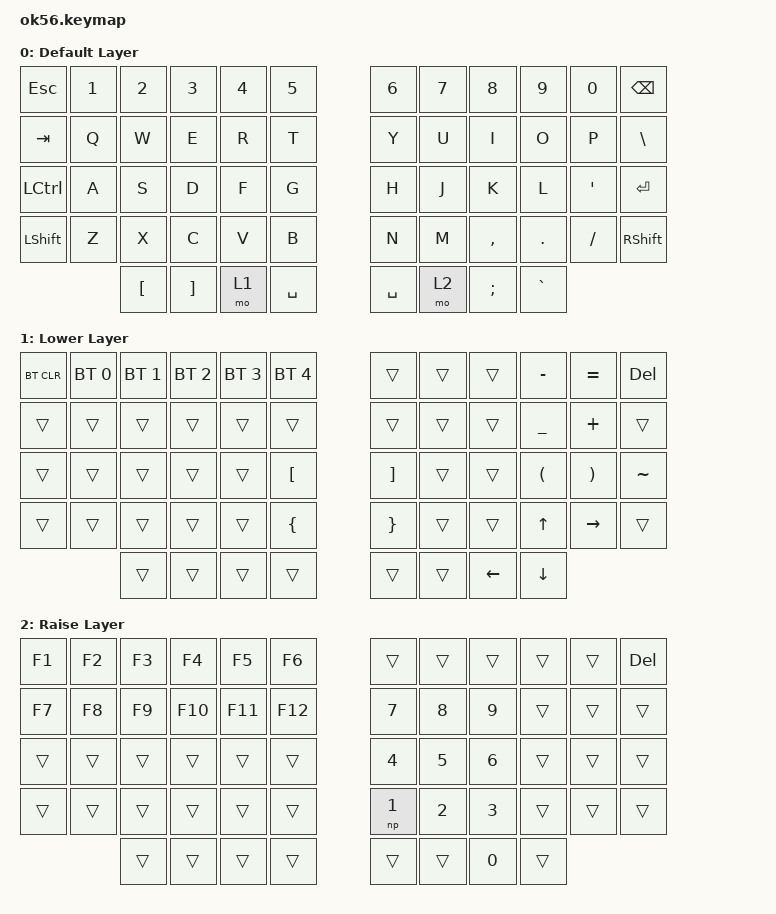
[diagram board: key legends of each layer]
/*
 * Copyright (c) 2020 The ZMK Contributors
 *
 * SPDX-License-Identifier: MIT
 */

#include <behaviors.dtsi>
#include <dt-bindings/zmk/keys.h>
#include <dt-bindings/zmk/bt.h>
#include <dt-bindings/zmk/ext_power.h>

/ {
    keymap {
        compatible = "zmk,keymap";

        default_layer {
            display-name = "Default Layer";
// ------------------------------------------------------------------------------------------------------------
// |  ESC  |  1  |  2  |  3   |  4   |  5   |                   |  6   |  7    |  8    |  9   |   0   |  BSPC |
// |  TAB  |  Q  |  W  |  E   |  R   |  T   |                   |  Y   |  U    |  I    |  O   |   P   |  BSLH |
// |  CTRL |  A  |  S  |  D   |  F   |  G   |                   |  H   |  J    |  K    |  L   |   '   |  RET  |
// | SHIFT |  Z  |  X  |  C   |  V   |  B   |   		|  N   |  M    |  ,    |  .   |   /   | SHIFT |
// |       |     |  [  |  ]   | LOWER| SPACE| 		  	| SPACE| UPPER |  ;    | GRAVE|       |       |
            bindings = <
&kp ESC   &kp N1 &kp N2   &kp N3   &kp N4 &kp N5                &kp N6     &kp N7   &kp N8    &kp N9  &kp N0   &kp BSPC
&kp TAB   &kp Q  &kp W    &kp E    &kp R  &kp T                 &kp Y      &kp U    &kp I     &kp O   &kp P    &kp BSLH
&kp LCTRL &kp A  &kp S    &kp D    &kp F  &kp G                 &kp H      &kp J    &kp K     &kp L   &kp SQT  &kp RET
&kp LSHFT &kp Z  &kp X    &kp C    &kp V  &kp B                 &kp N      &kp M    &kp COMMA &kp DOT &kp FSLH &kp RSHFT
                 &kp LBKT &kp RBKT &mo 1  &kp SPACE             &kp SPACE  &mo 2    &kp SEMI  &kp GRAVE
            >;
        };

        lower_layer {
            display-name = "Lower Layer";
// ------------------------------------------------------------------------------------------------------------
// | BTCLR | BT1 | BT2 |  BT3 |  BT4 |  BT5 |                   |      |       |       |  -   |   =   |  DEL  |
// |       |     |     |      |      |      |                   |      |       |       |  _   |   +   |       |
// |       |     |     |      |      |  [   |                   |  ]   |       |       |  (   |   )   |   ~   |
// |       |     |     |      |      |  {   |                   |  }   |       |       |  up  | right |       |
//               |     |      |      |      |                   |      |       | left  |  dn  |              
            bindings = <
&bt BT_CLR &bt BT_SEL 0	&bt BT_SEL 1  &bt BT_SEL 2  &bt BT_SEL 3 &bt BT_SEL 4 		&trans    &trans    &trans    &kp MINUS   &kp EQUAL &kp DEL
&trans     &trans       &trans        &trans        &trans       &trans                 &trans    &trans    &trans    &kp UNDER   &kp PLUS  &trans
&trans     &trans       &trans        &trans        &trans       &kp LBKT               &kp RBKT  &trans    &trans    &kp LPAR    &kp RPAR  &kp TILDE
&trans     &trans       &trans        &trans        &trans       &kp LBRC               &kp RBRC  &trans    &trans    &kp UP      &kp RIGHT &trans
			&trans        &trans        &trans       &trans                 &trans    &trans    &kp LEFT  &kp DOWN
            >; 
        };

        raise_layer {
            display-name = "Raise Layer";
// ------------------------------------------------------------------------------------------------------------
// |   F1  |  F2 |  F3 |  F4  |  F5  |  F6  |                  |      |       |       |      |       | DEL   |
// |   F7  |  F8 |  F9 |  F10 |  F11 |  F12 |                  |  7   |   8   |   9   |      |       |       |
// |       |     |     |      |      |      |                  |  4   |   5   |   6   |      |       |       |
// |       |     |     |      |      |      |                  |  1   |   2   |   3   |      |       |       |
//               |     |      |      |      |                  |      |       |   0   |      |
            bindings = <
&kp F1    &kp F2 &kp F3 &kp F4  &kp F5  &kp F6                       &trans      &trans    &trans    &trans   &trans    &kp DEL
&kp F7    &kp F8 &kp F9 &kp F10 &kp F11 &kp F12                      &kp N7      &kp N8    &kp N9    &trans   &trans    &trans
&trans    &trans &trans &trans  &trans  &trans                       &kp N4      &kp N5    &kp N6    &trans   &trans    &trans
&trans    &trans &trans &trans  &trans  &trans                       &np N1      &kp N2    &kp N3    &trans   &trans    &trans
                 &trans &trans  &trans  &trans                       &trans      &trans    &kp N0    &trans
            >; 
        };
    };
};
